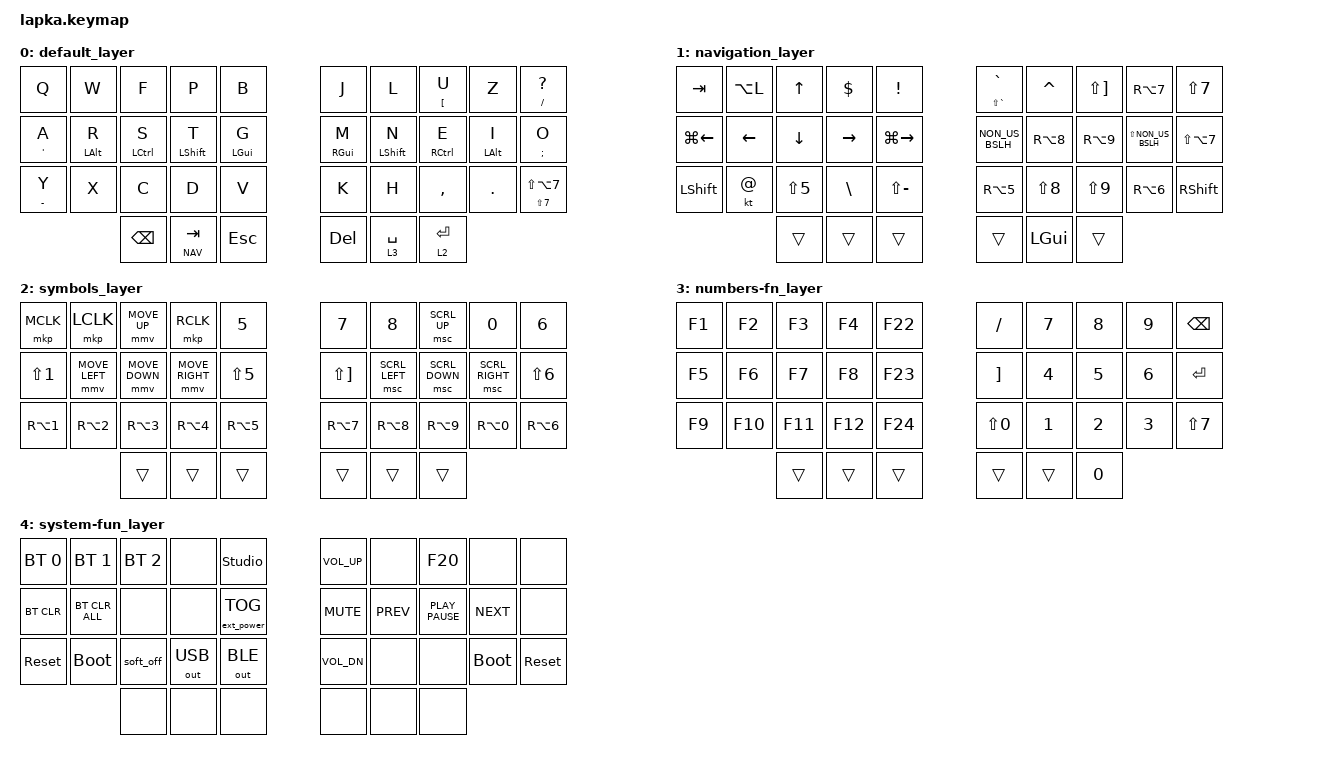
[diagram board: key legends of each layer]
#include <behaviors.dtsi>
#include <dt-bindings/zmk/bt.h>
#include <dt-bindings/zmk/ext_power.h>
#include <dt-bindings/zmk/keys.h>
#include <dt-bindings/zmk/outputs.h>
#include <dt-bindings/zmk/pointing.h>

//  0  1  2  3  4       5  6  7  8  9
// 10 11 12 13 14      15 16 17 18 19
// 20 21 22 23 24      25 26 27 28 29
//       30 31 32      33 34 35

#define LEFT_KEYS 0 1 2 3 4 10 11 12 13 14 20 21 22 23 24
#define LEFT_THUMBS 30 31 32
#define RIGHT_KEYS 5 6 7 8 9 15 16 17 18 19 25 26 27 28 29
#define RIGHT_THUMBS 33 34 35
#define DEF 0
#define NAV 1
#define SYM 2
#define NUM 3
#define SYS 4

/ {
    conditional_layers {
        compatible = "zmk,conditional-layers";

        sys_layer {
            if-layers = <NAV SYM>;
            then-layer = <SYS>;
        };
    };
};

/ {
    combos { compatible = "zmk,combos"; };

    behaviors {
        hml: home_row_mod_left {
            compatible = "zmk,behavior-hold-tap";
            label = "HRM Left";
            #binding-cells = <2>;
            flavor = "balanced"; //produces a "hold" if another key is both pressed and released within the tapping-term.
            require-prior-idle-ms = <150>; // immediately resolves a HRM as "tap" when it is pressed shortly after another key has been tapped.
            tapping-term-ms = <280>; //how long a key must be pressed to trigger the "hold" behavior
            quick-tap-ms = <175>; //If you press a tapped hold-tap again within quick-tap-ms milliseconds of the first press, it will always trigger the tap behavior.
            bindings = <&kp>, <&kp>;

            hold-trigger-key-positions = <RIGHT_KEYS RIGHT_THUMBS>; // List of keys on the right side of the keyboard
            hold-trigger-on-release; //delays the positional-hold-tap decision until the next key's release. With this, mods can be combined when held
        };

        hmr: home_row_mod_right {
            compatible = "zmk,behavior-hold-tap";
            label = "HRM Right";
            #binding-cells = <2>;
            flavor = "balanced";
            require-prior-idle-ms = <150>;
            tapping-term-ms = <280>;
            quick-tap-ms = <175>;
            bindings = <&kp>, <&kp>;

            hold-trigger-key-positions = <LEFT_KEYS LEFT_THUMBS>; // List of keys on the left side of the keyboard
            hold-trigger-on-release;
        };

        swapper: swapper {
            compatible = "zmk,behavior-tri-state";
            label = "SWAPPER";
            #binding-cells = <0>;
            bindings = <&kt LALT>, <&kp TAB>, <&kt LALT>;

            ignored-key-positions = <7 13 16 17 18>;
        };

        tabber: tabber {
            compatible = "zmk,behavior-tri-state";
            label = "TABBER";
            #binding-cells = <0>;
            bindings = <&kt LCTRL>, <&kp TAB>, <&kt LCTRL>;

            ignored-key-positions = <13>;
        };
    };

    keymap {
        compatible = "zmk,keymap";

        default_layer {
            bindings = <
&kp Q        &kp W        &kp F               &kp P          &kp B        &kp J        &kp L          &mt LBKT U            &kp Z        &mt SLASH QUESTION
&mt SQT A    &hml LALT R  &mt LEFT_CONTROL S  &hml LSHIFT T  &hml LGUI G  &hmr RGUI M  &hmr LSHIFT N  &hmr RIGHT_CONTROL E  &hmr LALT I  &mt SEMI O
&mt MINUS Y  &kp X        &kp C               &kp D          &kp V        &kp K        &kp H          &kp COMMA             &kp DOT      &mt LS(N7) LS(LA(N7))
                          &kp BSPC            &lt NAV TAB    &kp ESC      &kp DEL      &lt 3 SPACE    &lt 2 ENTER
            >;
        };

        navigation_layer {
            bindings = <
&kp TAB         &kp LA(L)  &kp UP      &kp DOLLAR     &kp EXCLAMATION  &mt LS(GRAVE) GRAVE  &kp CARET   &kp LS(RIGHT_BRACKET)  &kp RA(N7)           &kp LS(N7)
&kp LG(LEFT)    &kp LEFT   &kp DOWN    &kp RIGHT      &kp LG(RIGHT)    &kp NON_US_BSLH      &kp RA(N8)  &kp RA(N9)             &kp LS(NON_US_BSLH)  &kp LS(LA(N7))
&kp LEFT_SHIFT  &kt AT     &kp LS(N5)  &kp BACKSLASH  &kp LS(MINUS)    &kp RA(N5)           &kp LS(N8)  &kp LS(N9)             &kp RA(NUMBER_6)     &kp RIGHT_SHIFT
                           &trans      &trans         &trans           &trans               &kp LGUI    &trans
            >;
        };

        symbols_layer {
            bindings = <
&mkp MCLK   &mkp LCLK       &mmv MOVE_UP    &mkp RCLK        &kp N5      &kp N7        &kp N8          &msc SCRL_UP    &kp N0           &kp N6
&kp LS(N1)  &mmv MOVE_LEFT  &mmv MOVE_DOWN  &mmv MOVE_RIGHT  &kp LS(N5)  &kp LS(RBKT)  &msc SCRL_LEFT  &msc SCRL_DOWN  &msc SCRL_RIGHT  &kp LS(N6)
&kp RA(N1)  &kp RA(N2)      &kp RA(N3)      &kp RA(N4)       &kp RA(N5)  &kp RA(N7)    &kp RA(N8)      &kp RA(N9)      &kp RA(N0)       &kp RA(N6)
                            &trans          &trans           &trans      &trans        &trans          &trans
            >;
        };

        numbers-fn_layer {
            bindings = <
&kp F1  &kp F2   &kp F3   &kp F4   &kp F22  &kp SLASH   &kp N7  &kp N8  &kp N9  &kp BACKSPACE
&kp F5  &kp F6   &kp F7   &kp F8   &kp F23  &kp RBKT    &kp N4  &kp N5  &kp N6  &kp ENTER
&kp F9  &kp F10  &kp F11  &kp F12  &kp F24  &kp LS(N0)  &kp N1  &kp N2  &kp N3  &kp LS(N7)
                 &trans   &trans   &trans   &trans      &trans  &kp N0
            >;
        };

        system-fun_layer {
            bindings = <
&bt BT_SEL 0  &bt BT_SEL 1    &bt BT_SEL 2  &none         &studio_unlock     &kp K_VOL_UP  &none       &kp F20           &none        &none
&bt BT_CLR    &bt BT_CLR_ALL  &none         &none         &ext_power EP_TOG  &kp K_MUTE    &kp K_PREV  &kp K_PLAY_PAUSE  &kp K_NEXT   &none
&sys_reset    &bootloader     &soft_off     &out OUT_USB  &out OUT_BLE       &kp K_VOL_DN  &none       &none             &bootloader  &sys_reset
                              &none         &none         &none              &none         &none       &none
            >;
        };
    };
};
